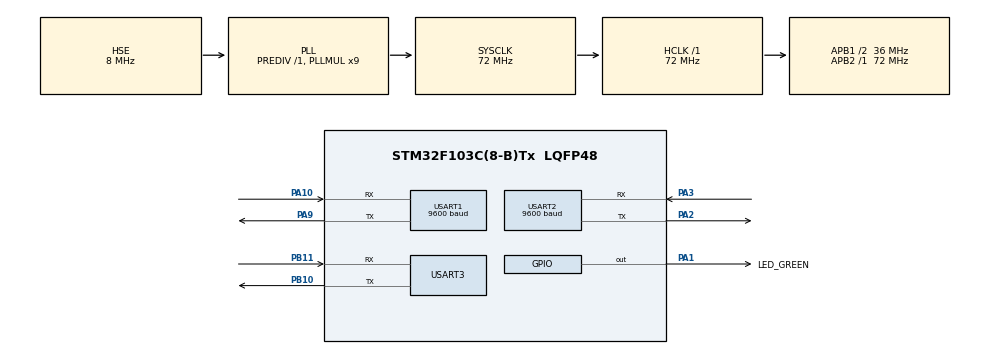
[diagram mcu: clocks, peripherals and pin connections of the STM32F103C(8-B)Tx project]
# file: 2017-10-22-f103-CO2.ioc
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Dma.Request0=USART2_RX
Dma.Request1=USART3_RX
Dma.USART2_RX.0.Direction=DMA_PERIPH_TO_MEMORY
Dma.USART2_RX.0.Instance=DMA1_Channel6
Dma.USART2_RX.0.MemDataAlignment=DMA_MDATAALIGN_BYTE
Dma.USART2_RX.0.MemInc=DMA_MINC_ENABLE
Dma.USART2_RX.0.Mode=DMA_CIRCULAR
Dma.USART2_RX.0.PeriphDataAlignment=DMA_PDATAALIGN_BYTE
Dma.USART2_RX.0.PeriphInc=DMA_PINC_DISABLE
Dma.USART2_RX.0.Priority=DMA_PRIORITY_LOW
Dma.USART3_RX.1.Direction=DMA_PERIPH_TO_MEMORY
Dma.USART3_RX.1.Instance=DMA1_Channel3
Dma.USART3_RX.1.MemDataAlignment=DMA_MDATAALIGN_BYTE
Dma.USART3_RX.1.MemInc=DMA_MINC_ENABLE
Dma.USART3_RX.1.Mode=DMA_CIRCULAR
Dma.USART3_RX.1.PeriphDataAlignment=DMA_PDATAALIGN_BYTE
Dma.USART3_RX.1.PeriphInc=DMA_PINC_DISABLE
Dma.USART3_RX.1.Priority=DMA_PRIORITY_LOW
Mcu.Family=STM32F1
Mcu.Name=STM32F103C(8-B)Tx
Mcu.Package=LQFP48
NVIC.DMA1_Channel3_IRQn=true\:0\:0\:false\:false\:true\:false
NVIC.DMA1_Channel6_IRQn=true\:0\:0\:false\:false\:true\:false
NVIC.PriorityGroup=NVIC_PRIORITYGROUP_4
PA1.GPIO_Label=LED_GREEN
PA1.GPIO_ModeDefaultOutputPP=GPIO_MODE_OUTPUT_PP
PA1.GPIO_Speed=GPIO_SPEED_FREQ_LOW
PA1.PinState=GPIO_PIN_RESET
PA1.Signal=GPIO_Output
PA10.Mode=Asynchronous
PA10.Signal=USART1_RX
PA13.Mode=Serial_Wire
PA13.Signal=SYS_JTMS-SWDIO
PA14.Mode=Serial_Wire
PA14.Signal=SYS_JTCK-SWCLK
PA2.Mode=Asynchronous
PA2.Signal=USART2_TX
PA3.Mode=Asynchronous
PA3.Signal=USART2_RX
PA9.Mode=Asynchronous
PA9.Signal=USART1_TX
PB10.Mode=Asynchronous
PB10.Signal=USART3_TX
PB11.Mode=Asynchronous
PB11.Signal=USART3_RX
PD0-OSC_IN.Mode=HSE-External-Oscillator
PD0-OSC_IN.Signal=RCC_OSC_IN
PD1-OSC_OUT.Mode=HSE-External-Oscillator
PD1-OSC_OUT.Signal=RCC_OSC_OUT
ProjectManager.HeapSize=0x200
ProjectManager.StackSize=0x400
ProjectManager.TargetToolchain=SW4STM32
RCC.AHBFreq_Value=72000000
RCC.APB1CLKDivider=RCC_HCLK_DIV2
RCC.APB1Freq_Value=36000000
RCC.APB1TimFreq_Value=72000000
RCC.APB2Freq_Value=72000000
RCC.APB2TimFreq_Value=72000000
RCC.HCLKFreq_Value=72000000
RCC.PLLMUL=RCC_PLL_MUL9
RCC.PLLSourceVirtual=RCC_PLLSOURCE_HSE
RCC.SYSCLKFreq_VALUE=72000000
RCC.SYSCLKSource=RCC_SYSCLKSOURCE_PLLCLK
RCC.USBFreq_Value=72000000
USART1.BaudRate=9600
USART1.VirtualMode=VM_ASYNC
USART2.BaudRate=9600
USART2.VirtualMode=VM_ASYNC
USART3.VirtualMode=VM_ASYNC
board=2017-10-22-f103-CO2

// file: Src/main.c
/**
  ******************************************************************************
  * File Name          : main.c
  * Description        : Main program body
  ******************************************************************************
  ** This notice applies to any and all portions of this file
  * that are not between comment pairs USER CODE BEGIN and
  * USER CODE END. Other portions of this file, whether
  * inserted by the user or by software development tools
  * are owned by their respective copyright owners.
  *
  * COPYRIGHT(c) 2017 STMicroelectronics
  *
  * Redistribution and use in source and binary forms, with or without modification,
  * are permitted provided that the following conditions are met:
  *   1. Redistributions of source code must retain the above copyright notice,
  *      this list of conditions and the following disclaimer.
  *   2. Redistributions in binary form must reproduce the above copyright notice,
  *      this list of conditions and the following disclaimer in the documentation
  *      and/or other materials provided with the distribution.
  *   3. Neither the name of STMicroelectronics nor the names of its contributors
  *      may be used to endorse or promote products derived from this software
  *      without specific prior written permission.
  *
  * THIS SOFTWARE IS PROVIDED BY THE COPYRIGHT HOLDERS AND CONTRIBUTORS "AS IS"
  * AND ANY EXPRESS OR IMPLIED WARRANTIES, INCLUDING, BUT NOT LIMITED TO, THE
  * IMPLIED WARRANTIES OF MERCHANTABILITY AND FITNESS FOR A PARTICULAR PURPOSE ARE
  * DISCLAIMED. IN NO EVENT SHALL THE COPYRIGHT HOLDER OR CONTRIBUTORS BE LIABLE
  * FOR ANY DIRECT, INDIRECT, INCIDENTAL, SPECIAL, EXEMPLARY, OR CONSEQUENTIAL
  * DAMAGES (INCLUDING, BUT NOT LIMITED TO, PROCUREMENT OF SUBSTITUTE GOODS OR
  * SERVICES; LOSS OF USE, DATA, OR PROFITS; OR BUSINESS INTERRUPTION) HOWEVER
  * CAUSED AND ON ANY THEORY OF LIABILITY, WHETHER IN CONTRACT, STRICT LIABILITY,
  * OR TORT (INCLUDING NEGLIGENCE OR OTHERWISE) ARISING IN ANY WAY OUT OF THE USE
  * OF THIS SOFTWARE, EVEN IF ADVISED OF THE POSSIBILITY OF SUCH DAMAGE.
  *
  ******************************************************************************
  */
#include "main.h"
#include "stm32f1xx_hal.h"
#include "dma.h"
#include "usart.h"
#include "gpio.h"

/* USER CODE BEGIN Includes */
	#include "ringbuffer.h"
	#include <string.h>
/* USER CODE END Includes */

/* USER CODE BEGIN PV */
/* Private variables ---------------------------------------------------------*/

#define API_KEY "5ZRXVI7HIJQPGKID"

	extern DMA_HandleTypeDef hdma_usart2_rx;
	RingBuffer rx_buffer2;
	#define RX_BUFFER_SIZE 30
	uint8_t rx_circular_buffer2[RX_BUFFER_SIZE];

	extern DMA_HandleTypeDef hdma_usart3_rx;
	RingBuffer rx_buffer3;
	uint8_t rx_circular_buffer3[RX_BUFFER_SIZE];

	uint8_t cmd[500];
	uint32_t iCmd = 0;
/* USER CODE END PV */

void SystemClock_Config(void);

/* USER CODE BEGIN PFP */
/* Private function prototypes -----------------------------------------------*/

uint8_t getCheckSum(uint8_t *);
uint32_t UART_Read(void);
void UART_3_Read(void);
/* USER CODE END PFP */

/* USER CODE BEGIN 0 */

//	UART1 -> debug	PA_9(TX) 	PA10(RX)
//	UART2 -> CO2	PA_2(TX) 	PA3_(RX)
//	UART3 -> wi-fi	PB10(TX)	PB11(RX)

/* USER CODE END 0 */

int main(void)
{

  /* USER CODE BEGIN 1 */

	char DataChar[100];
	uint8_t CO2_Packet_Read[9] = {0xff,0x01,0x86,0x00,0x00,0x00,0x00,0x00,0x79};
	//uint8_t CO2_Packet_CZP[9] = {0xff,0x01,0x87,0x00,0x00,0x00,0x00,0x00,0x78};
	//uint8_t CO2_Packet_CSP[9] = {0xff,0x01,0x88,0x07,0xD0,0x00,0x00,0x00,0xA0};

  /* USER CODE END 1 */

  /* MCU Configuration----------------------------------------------------------*/

  /* Reset of all peripherals, Initializes the Flash interface and the Systick. */
  HAL_Init();

  /* Configure the system clock */
  SystemClock_Config();

  /* Initialize all configured peripherals */
  MX_GPIO_Init();
  MX_DMA_Init();
  MX_USART1_UART_Init();
  MX_USART2_UART_Init();
  MX_USART3_UART_Init();

  /* USER CODE BEGIN 2 */
  RingBuffer_Init(&rx_buffer2, &hdma_usart2_rx, rx_circular_buffer2,RX_BUFFER_SIZE);
  HAL_UART_Receive_DMA(&huart2, rx_circular_buffer2, RX_BUFFER_SIZE);

  RingBuffer_Init(&rx_buffer3, &hdma_usart3_rx, rx_circular_buffer3,RX_BUFFER_SIZE);
  HAL_UART_Receive_DMA(&huart3, rx_circular_buffer3, RX_BUFFER_SIZE);

    sprintf(DataChar,"Start ESP8266\n\r");
  	HAL_UART_Transmit(&huart1, (uint8_t *)DataChar, strlen(DataChar), 100);
  	HAL_Delay(10);

  	sprintf(DataChar, "AT+RST\r\n");
  	HAL_UART_Transmit(&huart3, (uint8_t *)DataChar, strlen(DataChar), 100);
  	HAL_UART_Transmit(&huart1, (uint8_t *)DataChar, strlen(DataChar), 100);
  	HAL_Delay(1000);
  	UART_3_Read();

  	sprintf(DataChar, "AT+CWMODE=1\r\n");
  	HAL_UART_Transmit(&huart3, (uint8_t *)DataChar, strlen(DataChar), 100);
  	HAL_UART_Transmit(&huart1, (uint8_t *)DataChar, strlen(DataChar), 100);
  	HAL_Delay(100);
  	UART_3_Read();

  	HAL_Delay(2000);
  	sprintf(DataChar, "AT+CWJAP=\"Kitchen\",\"Papanina36\"\r\n");
  	//sprintf(DataChar, "AT+CWJAP=\"Tapac\",\"27051329\"\r\n"); // Ok

  	HAL_UART_Transmit(&huart3, (uint8_t *)DataChar, strlen(DataChar), 100);
  	HAL_UART_Transmit(&huart1, (uint8_t *)DataChar, strlen(DataChar), 100);
  	HAL_Delay(1000);
  	UART_3_Read();

  	sprintf(DataChar,"ESP8266 - OK!\n\r");
  	HAL_UART_Transmit(&huart1, (uint8_t *)DataChar, strlen(DataChar), 100);
 	HAL_Delay(100);

	sprintf(DataChar,"\nCO2 UART1 Start\n\r");
	HAL_UART_Transmit(&huart1, (uint8_t *)DataChar, strlen(DataChar), 100);

  /* USER CODE END 2 */

  /* Infinite loop */
  /* USER CODE BEGIN WHILE */
  while (1)
  {
	HAL_UART_Transmit(&huart2, (uint8_t *)CO2_Packet_Read, 9, 100);
	HAL_GPIO_TogglePin(LED_GREEN_GPIO_Port, LED_GREEN_Pin);
	HAL_Delay(10000);
	int co2 = UART_Read();
	sprintf(DataChar,"2CO2= %d\n\r",(int)co2);
	HAL_UART_Transmit(&huart1, (uint8_t *)DataChar, strlen(DataChar), 100);

	char http_req_1[200];
	sprintf(http_req_1,"GET /update?api_key=%s&field1=%d\r\n\r\n",	API_KEY,(int)co2);

	// Connect to server 1
	sprintf(DataChar, "AT+CIPSTART=\"TCP\",\"184.106.153.149\",80\r\n");
	HAL_UART_Transmit(&huart3, (uint8_t *)DataChar, strlen(DataChar), 1000);
	HAL_UART_Transmit(&huart1, (uint8_t *)DataChar, strlen(DataChar), 100);
	HAL_Delay(2000);
	//HAL_Delay(1000);
	UART_3_Read();

	// Send data length (length of request)
	sprintf(DataChar, "AT+CIPSEND=%d\r\n", strlen(http_req_1));
	HAL_UART_Transmit(&huart3, (uint8_t *)DataChar, strlen(DataChar), 1000);
	HAL_UART_Transmit(&huart1, (uint8_t *)DataChar, strlen(DataChar), 100);
	HAL_Delay(500); // wait for ">"
	UART_3_Read();

	// SEND DATA
	HAL_UART_Transmit(&huart3, (uint8_t *)http_req_1, strlen(http_req_1), 1000);
	HAL_UART_Transmit(&huart1, (uint8_t *)http_req_1, strlen(http_req_1), 100);
	HAL_Delay(100);
	UART_3_Read();

	  HAL_Delay(20000);
	  HAL_Delay(20000);
	  HAL_Delay(20000);
  /* USER CODE END WHILE */

  }

}

/** System Clock Configuration
*/
void SystemClock_Config(void)
{

  RCC_OscInitTypeDef RCC_OscInitStruct;
  RCC_ClkInitTypeDef RCC_ClkInitStruct;

    /**Initializes the CPU, AHB and APB busses clocks
    */
  RCC_OscInitStruct.OscillatorType = RCC_OSCILLATORTYPE_HSE;
  RCC_OscInitStruct.HSEState = RCC_HSE_ON;
  RCC_OscInitStruct.HSEPredivValue = RCC_HSE_PREDIV_DIV1;
  RCC_OscInitStruct.HSIState = RCC_HSI_ON;
  RCC_OscInitStruct.PLL.PLLState = RCC_PLL_ON;
  RCC_OscInitStruct.PLL.PLLSource = RCC_PLLSOURCE_HSE;
  RCC_OscInitStruct.PLL.PLLMUL = RCC_PLL_MUL9;
  if (HAL_RCC_OscConfig(&RCC_OscInitStruct) != HAL_OK)
  {
    _Error_Handler(__FILE__, __LINE__);
  }

    /**Initializes the CPU, AHB and APB busses clocks
    */
  RCC_ClkInitStruct.ClockType = RCC_CLOCKTYPE_HCLK|RCC_CLOCKTYPE_SYSCLK
                              |RCC_CLOCKTYPE_PCLK1|RCC_CLOCKTYPE_PCLK2;
  RCC_ClkInitStruct.SYSCLKSource = RCC_SYSCLKSOURCE_PLLCLK;
  RCC_ClkInitStruct.AHBCLKDivider = RCC_SYSCLK_DIV1;
  RCC_ClkInitStruct.APB1CLKDivider = RCC_HCLK_DIV2;
  RCC_ClkInitStruct.APB2CLKDivider = RCC_HCLK_DIV1;

  if (HAL_RCC_ClockConfig(&RCC_ClkInitStruct, FLASH_LATENCY_2) != HAL_OK)
  {
    _Error_Handler(__FILE__, __LINE__);
  }

    /**Configure the Systick interrupt time
    */
  HAL_SYSTICK_Config(HAL_RCC_GetHCLKFreq()/1000);

    /**Configure the Systick
    */
  HAL_SYSTICK_CLKSourceConfig(SYSTICK_CLKSOURCE_HCLK);

  /* SysTick_IRQn interrupt configuration */
  HAL_NVIC_SetPriority(SysTick_IRQn, 0, 0);
}

/* USER CODE BEGIN 4 */

uint8_t getCheckSum(uint8_t *packet)
{
	uint8_t checksum = 0x00;
	for( uint8_t i = 1; i < 8; i++)
		{
		checksum += packet[i];
		}
	checksum = 0xff - checksum;
	checksum += 1;
	return checksum;
}
//=================================================================
void UART_3_Read(void)
 {
	char DataChar_UART[100];
   // if something go wrong with DMA - just restart receiving
 	//if (hdma_usart2_rx.State == HAL_DMA_STATE_ERROR) {
 		//HAL_UART_DMAStop(&huart2);
 		//HAL_UART_Receive_DMA(&huart2, rx_circular_buffer, RX_BUFFER_SIZE);
 	//}
   // how many bytes in buffer
 	uint32_t rx_count = RingBuffer_Count(&rx_buffer3);
 	while (rx_count--)
 		{
 		uint8_t c = RingBuffer_GetByte(&rx_buffer3);
 		if (c == '\n')
 			{
 			sprintf(DataChar_UART,"Answer: %s\n\r",cmd);
			HAL_UART_Transmit(&huart1, (uint8_t *)DataChar_UART, strlen(DataChar_UART), 100);
			HAL_Delay(10);
			cmd[iCmd++] = 0; // we received whole command, setting end of string
			iCmd = 0;
 			}
 		else if(c == '\r')
 			{
 			// skip '\r' symbol
 			}
 		else
 			{
 			cmd[iCmd++ % 500] = c;
 			}
 		}// while (rx_count--)
 }// void UART_Read(void)
//======================================================================

//=================================================================
uint32_t UART_Read(void)
 {
	uint32_t co2=0;
	char DataChar_UART[100];
   // if something go wrong with DMA - just restart receiving
// 	if (hdma_usart2_rx.State == HAL_DMA_STATE_ERROR) {
// 		HAL_UART_DMAStop(&huart2);
// 		HAL_UART_Receive_DMA(&huart2, rx_circular_buffer, RX_BUFFER_SIZE);
// 	}
   // how many bytes in buffer
 	uint32_t rx_count = RingBuffer_Count(&rx_buffer2);
 	while (rx_count--)
 		{
 		uint8_t c = RingBuffer_GetByte(&rx_buffer2);
 		cmd[iCmd++ % 500] = c;
 		HAL_Delay(10);
 		}// while (rx_count--)
	co2 = cmd[2] * 0xff +cmd[3];

	uint8_t CheckSum = getCheckSum(cmd);
	if (cmd[8] == CheckSum)
		sprintf(DataChar_UART,"CO2= %d\n\r",(int)co2);
	else
		sprintf(DataChar_UART,"CheckSum- ERROR\n");

	HAL_UART_Transmit(&huart1, (uint8_t *)DataChar_UART, strlen(DataChar_UART), 100);

	cmd[iCmd++] = 0; // we received whole command, setting end of string
	iCmd = 0;
	return co2;
 }// void UART_Read(void)
//======================================================================
/* USER CODE END 4 */

void _Error_Handler(char * file, int line)
{
  while(1)
  {
  }
}

/************************ (C) COPYRIGHT STMicroelectronics *****END OF FILE****/
